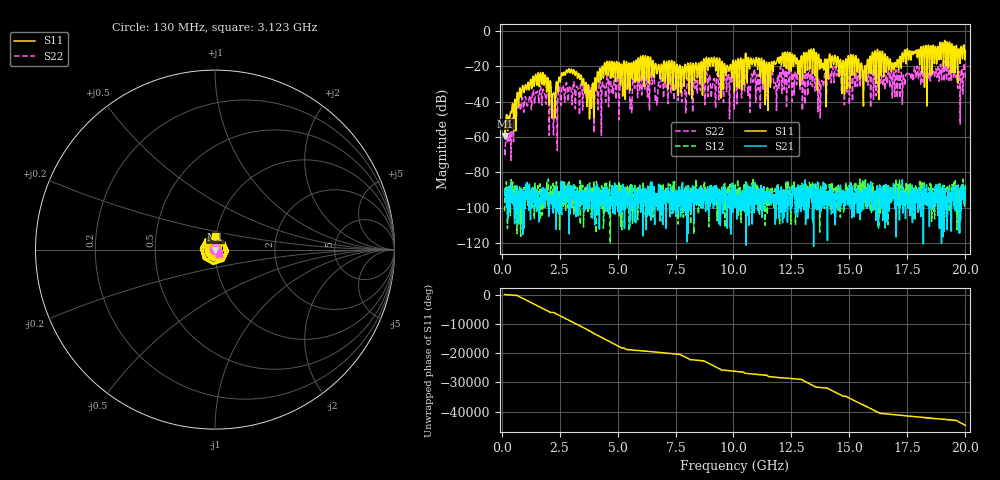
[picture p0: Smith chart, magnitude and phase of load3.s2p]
!Created with skrf (http://scikit-rf.org).
# GHz S RI R 50.0
!freq ReS11 ImS11 ReS21 ImS21 ReS12 ImS12 ReS22 ImS22
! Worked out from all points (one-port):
!   1601 points, 130 MHz to 20 GHz, reference 50 ohm
!   lowest |S11| = -59.5 dB at 154.8 MHz (marker M1), VSWR 1.00, Z = 50.1 + j0.0313 ohm
!   |S11| at or under -10 dB: start of sweep to 18.06 GHz; 18.09625 GHz to 18.16983 GHz (73.58 MHz wide, 0.406 % of centre); 19.63 GHz to 19.8 GHz (174.7 MHz wide, 0.886 % of centre) (the widest 3 of 19)
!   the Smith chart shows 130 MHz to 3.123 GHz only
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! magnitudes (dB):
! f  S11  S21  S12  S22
! 130 MHz  -52.8  -89.1  -101.9  -66.9
! 154.8 MHz  -59.5  -91.4  -94.4  -70.2
! 962.1 MHz  -34.9  -90.7  -88.5  -45.8
! 1.769 GHz  -24.2  -96.1  -100.0  -34.7
! 2.241 GHz  -35.4  -94.5  -94.2  -58.8
! 2.676 GHz  -24.0  -92.5  -89.0  -32.4
! 3.446 GHz  -26.2  -91.4  -89.3  -29.0
! 3.88 GHz  -43.8  -91.7  -102.4  -30.7
! 4.539 GHz  -17.9  -96.5  -90.1  -26.2
! 5.545 GHz  -33.8  -91.7  -87.5  -44.1
! 6.166 GHz  -21.6  -92.7  -97.4  -30.2
! 6.762 GHz  -19.2  -90.4  -93.0  -30.3
! 7.308 GHz  -19.3  -88.4  -89.5  -35.1
! 7.854 GHz  -31.4  -90.5  -94.5  -29.2
! 10.06 GHz  -19.4  -99.6  -88.7  -22.6
! 13.38 GHz  -13.8  -94.3  -97.0  -25.4
! 13.73 GHz  -20.3  -103.3  -95.9  -35.4
! 14.34 GHz  -17.3  -98.4  -94.0  -29.3
! 15.64 GHz  -22.2  -92.5  -92.6  -22.4
! 16.04 GHz  -22.0  -93.3  -94.4  -38.7
! 16.7 GHz  -22.0  -102.0  -95.7  -22.2
! 20 GHz  -11.4  -87.3  -87.8  -28.5
